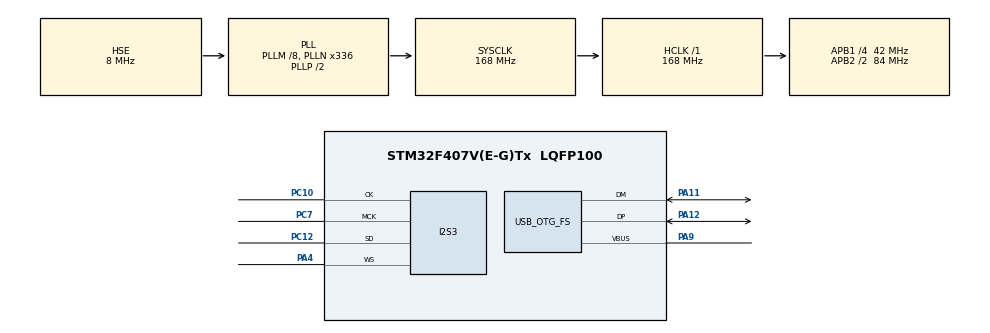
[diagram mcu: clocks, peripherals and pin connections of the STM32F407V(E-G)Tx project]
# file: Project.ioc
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Dma.Request0=SPI3_RX
Dma.Request1=SPI3_TX
Dma.SPI3_RX.0.Channel=DMA_CHANNEL_0
Dma.SPI3_RX.0.Direction=DMA_PERIPH_TO_MEMORY
Dma.SPI3_RX.0.FIFOMode=DMA_FIFOMODE_DISABLE
Dma.SPI3_RX.0.FIFOThreshold=DMA_FIFO_THRESHOLD_HALFFULL
Dma.SPI3_RX.0.Instance=DMA1_Stream0
Dma.SPI3_RX.0.MemBurst=DMA_MBURST_SINGLE
Dma.SPI3_RX.0.MemDataAlignment=DMA_MDATAALIGN_BYTE
Dma.SPI3_RX.0.MemInc=DMA_MINC_DISABLE
Dma.SPI3_RX.0.Mode=DMA_NORMAL
Dma.SPI3_RX.0.PeriphBurst=DMA_PBURST_SINGLE
Dma.SPI3_RX.0.PeriphDataAlignment=DMA_PDATAALIGN_BYTE
Dma.SPI3_RX.0.PeriphInc=DMA_PINC_DISABLE
Dma.SPI3_RX.0.Priority=DMA_PRIORITY_HIGH
Dma.SPI3_TX.1.Channel=DMA_CHANNEL_0
Dma.SPI3_TX.1.Direction=DMA_MEMORY_TO_PERIPH
Dma.SPI3_TX.1.FIFOMode=DMA_FIFOMODE_ENABLE
Dma.SPI3_TX.1.FIFOThreshold=DMA_FIFO_THRESHOLD_FULL
Dma.SPI3_TX.1.Instance=DMA1_Stream7
Dma.SPI3_TX.1.MemBurst=DMA_MBURST_SINGLE
Dma.SPI3_TX.1.MemDataAlignment=DMA_MDATAALIGN_HALFWORD
Dma.SPI3_TX.1.MemInc=DMA_MINC_ENABLE
Dma.SPI3_TX.1.Mode=DMA_NORMAL
Dma.SPI3_TX.1.PeriphBurst=DMA_PBURST_SINGLE
Dma.SPI3_TX.1.PeriphDataAlignment=DMA_PDATAALIGN_HALFWORD
Dma.SPI3_TX.1.PeriphInc=DMA_PINC_DISABLE
Dma.SPI3_TX.1.Priority=DMA_PRIORITY_HIGH
I2S3.AudioFreq-Half_Duplex_Master=I2S_AUDIOFREQ_16K
I2S3.ErrorAudioFreq-Half_Duplex_Master=-2.34 %
I2S3.RealAudioFreq-Half_Duplex_Master=15.625 KHz
Mcu.Family=STM32F4
Mcu.Name=STM32F407V(E-G)Tx
Mcu.Package=LQFP100
NVIC.DMA1_Stream7_IRQn=true\:5\:0\:true
NVIC.OTG_FS_IRQn=true\:6\:0\:true
NVIC.PriorityGroup=NVIC_PRIORITYGROUP_4
PA11.Mode=Host_Only
PA11.Signal=USB_OTG_FS_DM
PA12.Mode=Host_Only
PA12.Signal=USB_OTG_FS_DP
PA4.GPIO_Mode=GPIO_MODE_AF_PP
PA4.GPIO_PuPd=GPIO_NOPULL
PA4.GPIO_Speed=GPIO_SPEED_FAST
PA4.Mode=Half_Duplex_Master
PA4.Signal=I2S3_WS
PA9.Mode=Activate_VBUS
PA9.Signal=USB_OTG_FS_VBUS
PC10.GPIO_Mode=GPIO_MODE_AF_PP
PC10.GPIO_PuPd=GPIO_NOPULL
PC10.GPIO_Speed=GPIO_SPEED_FAST
PC10.Mode=Half_Duplex_Master
PC10.Signal=I2S3_CK
PC12.GPIO_Mode=GPIO_MODE_AF_PP
PC12.GPIO_PuPd=GPIO_NOPULL
PC12.GPIO_Speed=GPIO_SPEED_FAST
PC12.Mode=Half_Duplex_Master
PC12.Signal=I2S3_SD
PC7.GPIO_Mode=GPIO_MODE_AF_PP
PC7.GPIO_PuPd=GPIO_NOPULL
PC7.GPIO_Speed=GPIO_SPEED_FAST
PC7.Mode=Master_Clock_Activated
PC7.Signal=I2S3_MCK
PH0-OSC_IN.Mode=HSE-External-Oscillator
PH0-OSC_IN.Signal=RCC_OSC_IN
PH1-OSC_OUT.Mode=HSE-External-Oscillator
PH1-OSC_OUT.Signal=RCC_OSC_OUT
ProjectManager.TargetToolchain=EWARM 6.70
RCC.48MHZClocksFreq_Value=48000000
RCC.AHBFreq_Value=168000000
RCC.APB1CLKDivider=RCC_HCLK_DIV4
RCC.APB1Freq_Value=42000000
RCC.APB1TimFreq_Value=84000000
RCC.APB2CLKDivider=RCC_HCLK_DIV2
RCC.APB2Freq_Value=84000000
RCC.APB2TimFreq_Value=168000000
RCC.CortexFreq_Value=21000000
RCC.HCLKFreq_Value=168000000
RCC.HSE_VALUE=8000000
RCC.HSI_VALUE=16000000
RCC.LSE_VALUE=32768
RCC.PLLI2SR=6
RCC.PLLM=8
RCC.PLLN=336
RCC.PLLQ=7
RCC.PLLSourceVirtual=RCC_PLLSOURCE_HSE
RCC.SYSCLKFreq_VALUE=168000000
RCC.SYSCLKSource=RCC_SYSCLKSOURCE_PLLCLK
RCC.VCOOutputFreq_Value=336000000
USB_HOST.USBH_DEBUG_LEVEL=3
USB_HOST.USBH_HandleTypeDef=hUsbHostFS
USB_HOST.VirtualModeFS=Msc
USB_OTG_FS.phy_itface-Host_Only=HCD_PHY_EMBEDDED
USB_OTG_FS.use_external_vbus=ENABLE
VP_FATFS_VS_USB.Mode=USB
VP_USB_HOST_VS_USB_HOST_MSC_FS.Mode=MSC_FS

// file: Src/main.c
/**
  ******************************************************************************
  * File Name          : main.c
  * Date               : 21/10/2014 18:08:27
  * Description        : Main program body
  ******************************************************************************
  *
  * COPYRIGHT(c) 2014 STMicroelectronics
  *
  * Redistribution and use in source and binary forms, with or without modification,
  * are permitted provided that the following conditions are met:
  *   1. Redistributions of source code must retain the above copyright notice,
  *      this list of conditions and the following disclaimer.
  *   2. Redistributions in binary form must reproduce the above copyright notice,
  *      this list of conditions and the following disclaimer in the documentation
  *      and/or other materials provided with the distribution.
  *   3. Neither the name of STMicroelectronics nor the names of its contributors
  *      may be used to endorse or promote products derived from this software
  *      without specific prior written permission.
  *
  * THIS SOFTWARE IS PROVIDED BY THE COPYRIGHT HOLDERS AND CONTRIBUTORS "AS IS"
  * AND ANY EXPRESS OR IMPLIED WARRANTIES, INCLUDING, BUT NOT LIMITED TO, THE
  * IMPLIED WARRANTIES OF MERCHANTABILITY AND FITNESS FOR A PARTICULAR PURPOSE ARE
  * DISCLAIMED. IN NO EVENT SHALL THE COPYRIGHT HOLDER OR CONTRIBUTORS BE LIABLE
  * FOR ANY DIRECT, INDIRECT, INCIDENTAL, SPECIAL, EXEMPLARY, OR CONSEQUENTIAL
  * DAMAGES (INCLUDING, BUT NOT LIMITED TO, PROCUREMENT OF SUBSTITUTE GOODS OR
  * SERVICES; LOSS OF USE, DATA, OR PROFITS; OR BUSINESS INTERRUPTION) HOWEVER
  * CAUSED AND ON ANY THEORY OF LIABILITY, WHETHER IN CONTRACT, STRICT LIABILITY,
  * OR TORT (INCLUDING NEGLIGENCE OR OTHERWISE) ARISING IN ANY WAY OUT OF THE USE
  * OF THIS SOFTWARE, EVEN IF ADVISED OF THE POSSIBILITY OF SUCH DAMAGE.
  *
  ******************************************************************************
  */

#include "stm32f4xx_hal.h"
#include "ff.h"
#include "ff_gen_drv.h"
#include "usbh_diskio.h" /* defines USBH_Driver as external */
#include "usb_host.h"
#include "main.h"

I2S_HandleTypeDef hi2s3;
DMA_HandleTypeDef hdma_spi3_rx;
DMA_HandleTypeDef hdma_spi3_tx;

uint8_t retUSBH;    /* Return value for USBH */
char USBH_Path[4];  /* USBH logical drive path */

/* USER CODE BEGIN PV */
static void  MSC_Application(void);
static void  COMMAND_AudioExecuteApplication(void);
/* USER CODE END PV */

void SystemClock_Config(void);
static void MX_GPIO_Init(void);
static void MX_DMA_Init(void);
static void MX_I2S3_Init(void);
void MX_USB_HOST_Process(void);

int main(void)
{

  /* MCU Configuration----------------------------------------------------------*/

  /* Reset of all peripherals, Initializes the Flash interface and the Systick. */
  HAL_Init();

  /* Configure the system clock */
  SystemClock_Config();

  /* Initialize all configured peripherals */
  MX_GPIO_Init();
  MX_DMA_Init();
  MX_I2S3_Init();
  MX_USB_HOST_Init();

  /*## FatFS: Link the USBH driver ###########################*/
  retUSBH = FATFS_LinkDriver(&USBH_Driver, USBH_Path);

  /* USER CODE BEGIN 3 */
  if (retUSBH != 0)
  {
    while(1);
  }
  /* Infinite loop */
  while (1)
  {

    MX_USB_HOST_Process();

  }
  /* USER CODE END 3 */

}

/** System Clock Configuration
*/
void SystemClock_Config(void)
{

  RCC_OscInitTypeDef RCC_OscInitStruct;
  RCC_ClkInitTypeDef RCC_ClkInitStruct;
  RCC_PeriphCLKInitTypeDef PeriphClkInitStruct;

  __PWR_CLK_ENABLE();

  __HAL_PWR_VOLTAGESCALING_CONFIG(PWR_REGULATOR_VOLTAGE_SCALE1);

  RCC_OscInitStruct.OscillatorType = RCC_OSCILLATORTYPE_HSE;
  RCC_OscInitStruct.HSEState = RCC_HSE_ON;
  RCC_OscInitStruct.PLL.PLLState = RCC_PLL_ON;
  RCC_OscInitStruct.PLL.PLLSource = RCC_PLLSOURCE_HSE;
  RCC_OscInitStruct.PLL.PLLM = 8;
  RCC_OscInitStruct.PLL.PLLN = 336;
  RCC_OscInitStruct.PLL.PLLP = RCC_PLLP_DIV2;
  RCC_OscInitStruct.PLL.PLLQ = 7;
  HAL_RCC_OscConfig(&RCC_OscInitStruct);

  RCC_ClkInitStruct.ClockType = RCC_CLOCKTYPE_SYSCLK|RCC_CLOCKTYPE_PCLK1
                              |RCC_CLOCKTYPE_PCLK2;
  RCC_ClkInitStruct.SYSCLKSource = RCC_SYSCLKSOURCE_PLLCLK;
  RCC_ClkInitStruct.AHBCLKDivider = RCC_SYSCLK_DIV1;
  RCC_ClkInitStruct.APB1CLKDivider = RCC_HCLK_DIV4;
  RCC_ClkInitStruct.APB2CLKDivider = RCC_HCLK_DIV2;
  HAL_RCC_ClockConfig(&RCC_ClkInitStruct, FLASH_LATENCY_5);

  PeriphClkInitStruct.PeriphClockSelection = RCC_PERIPHCLK_I2S;
  PeriphClkInitStruct.PLLI2S.PLLI2SN = 192;
  PeriphClkInitStruct.PLLI2S.PLLI2SR = 6;
  HAL_RCCEx_PeriphCLKConfig(&PeriphClkInitStruct);

}

/* I2S3 init function */
void MX_I2S3_Init(void)
{

  hi2s3.Instance = SPI3;
  hi2s3.Init.Mode = I2S_MODE_MASTER_TX;
  hi2s3.Init.Standard = I2S_STANDARD_PHILLIPS;
  hi2s3.Init.DataFormat = I2S_DATAFORMAT_16B;
  hi2s3.Init.MCLKOutput = I2S_MCLKOUTPUT_ENABLE;
  hi2s3.Init.AudioFreq = I2S_AUDIOFREQ_16K;
  hi2s3.Init.CPOL = I2S_CPOL_LOW;
  hi2s3.Init.ClockSource = I2S_CLOCK_PLL;
  hi2s3.Init.FullDuplexMode = I2S_FULLDUPLEXMODE_DISABLE;
  HAL_I2S_Init(&hi2s3);

}

void MX_DMA_Init(void)
{
  /* DMA controller clock enable */
  __DMA1_CLK_ENABLE();

  /* DMA interrupt init */
  HAL_NVIC_SetPriority(DMA1_Stream7_IRQn, 5, 0);
  HAL_NVIC_EnableIRQ(DMA1_Stream7_IRQn);

}

/** Configure pins as
        * Analog
        * Input
        * Output
        * EVENT_OUT
        * EXTI
*/
void MX_GPIO_Init(void)
{

  /* GPIO Ports Clock Enable */
  __GPIOH_CLK_ENABLE();
  __GPIOA_CLK_ENABLE();
  __GPIOC_CLK_ENABLE();

}

/* USER CODE BEGIN 4 */
/**
  * @brief  Main routine for Mass storage application
  * @param  None
  * @retval none
  */
static void MSC_Application(void)
{
  switch (USBH_USR_ApplicationState)
  {
  case USBH_USR_AUDIO:
    /* Go to Audio menu */
    COMMAND_AudioExecuteApplication();

    /* Set user initialization flag */
    USBH_USR_ApplicationState = USBH_USR_FS_INIT;
    break;

  case USBH_USR_FS_INIT:
    /* Initialises the File System */
    if (f_mount(&USBDISKFatFs, (TCHAR const*)USBDISKPath, 0 ) != FR_OK )
    {
      /* efs initialisation fails*/
      Error_Handler();
    }

    /* Go to menu */
    USBH_USR_ApplicationState = USBH_USR_AUDIO;
    break;

  default:
    break;
  }
}

/**
  * @brief  COMMAND_AudioExecuteApplication.
  * @param  None
  * @retval None
  */
static void COMMAND_AudioExecuteApplication(void)
{
  /* Execute the command switch the command index */
  switch (CmdIndex)
  {
  /* Start Playing from USB Flash memory */
  case CMD_PLAY:
    if (RepeatState == REPEAT_ON)
      WavePlayerStart();
    break;
    /* Start Recording in USB Flash memory */
  case CMD_RECORD:
    RepeatState = REPEAT_ON;
    WaveRecorderProcess();
    break;
  default:
    break;
  }
}
/* USER CODE END 4 */

/************************ (C) COPYRIGHT STMicroelectronics *****END OF FILE****/
